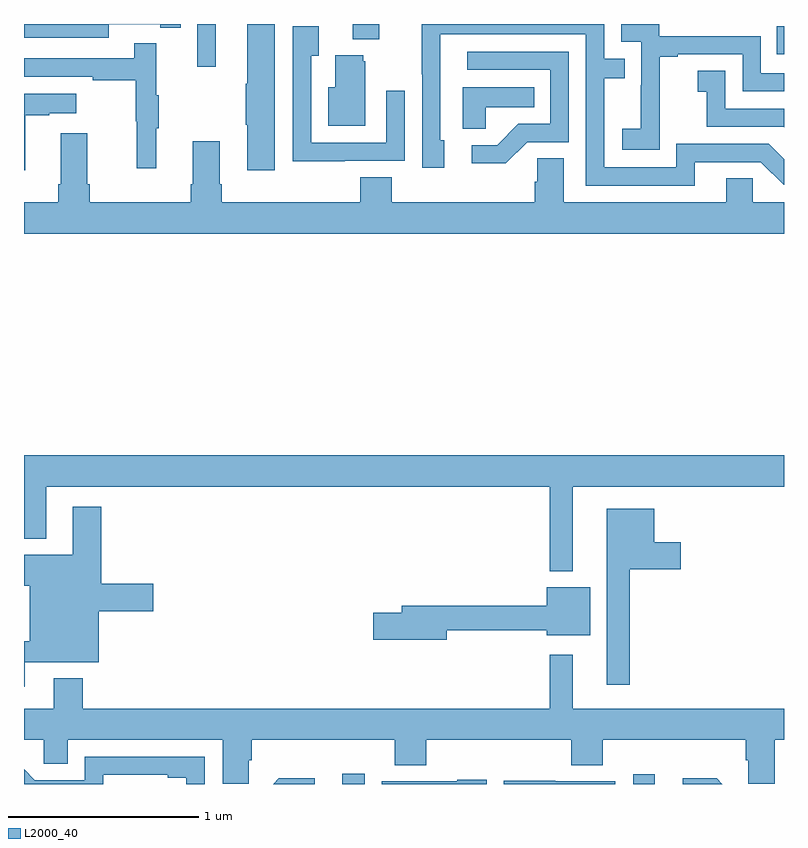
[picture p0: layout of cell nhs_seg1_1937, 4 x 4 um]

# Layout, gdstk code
import gdstk
lib = gdstk.Library(unit=1e-6, precision=1e-09)
def R(c, l, rs):  # rectangles x0, y0, x1, y1
    for r in rs: c.add(gdstk.rectangle(r[:2], r[2:], *l))
def P(c, l, *ps):  # polygons
    for p in ps: c.add(gdstk.Polygon(p, *l))
L2000_40 = (2000, 40)

nhs_seg1_1937 = lib.new_cell('nhs_seg1_1937')
R(nhs_seg1_1937, L2000_40, [(218.675,518.199,218.793,518.254), (220.206,518.199,220.321,518.251), (217.911,521.973,218.008,522.199), (220.963,522.039,221,522.187), (218.729,522.119,218.869,522.199)])
P(nhs_seg1_1937, L2000_40, [(220.531,521.472),(220.878,521.472),(220.998,521.352),(221,521.352),(221,521.488),(220.92,521.568),(220.434,521.568),(220.434,521.445),(220.053,521.445),(220.053,521.914),(220.163,521.914),(220.163,522.015),(220.053,522.015),(220.053,522.199),(219.094,522.199),(219.094,521.935),(219.096,521.935),(219.096,521.442),(219.211,521.442),(219.211,521.586),(219.192,521.586),(219.192,522.144),(219.957,522.144),(219.957,521.349),(220.531,521.349)],
  [(217.446,522.198),(217.718,522.198),(217.718,522.178),(217.826,522.178),(217.826,522.199),(217,522.199),(217,522.126),(217.446,522.126)],
  [(220.347,521.743),(220.346,521.743),(220.346,522.027),(220.441,522.027),(220.441,522.039),(220.782,522.039),(220.782,521.844),(221,521.844),(221,521.94),(220.878,521.94),(220.878,522.135),(220.344,522.135),(220.344,522.199),(220.143,522.199),(220.143,522.105),(220.248,522.105),(220.248,521.876),(220.247,521.876),(220.247,521.647),(220.149,521.647),(220.149,521.537),(220.347,521.537)],
  [(218.32,522.199),(218.174,522.199),(218.174,521.885),(218.167,521.885),(218.167,521.668),(218.174,521.668),(218.174,521.43),(218.32,521.43)],
  [(218.687,521.478),(219.003,521.478),(219.003,521.847),(218.907,521.847),(218.907,521.574),(218.511,521.574),(218.511,522.031),(218.551,522.031),(218.551,522.187),(218.415,522.187),(218.415,521.477),(218.687,521.477)],
  [(217.697,521.651),(217.708,521.651),(217.708,521.825),(217.697,521.825),(217.697,522.097),(217.579,522.097),(217.579,522.018),(217,522.018),(217,521.922),(217.363,521.922),(217.363,521.902),(217.587,521.902),(217.587,521.688),(217.594,521.688),(217.594,521.439),(217.697,521.439)],
  [(219.648,521.577),(219.867,521.577),(219.867,522.054),(219.333,522.054),(219.333,521.958),(219.771,521.958),(219.771,521.673),(219.602,521.673),(219.491,521.562),(219.357,521.562),(219.357,521.465),(219.535,521.465)],
  [(218.797,522.003),(218.786,522.003),(218.786,522.034),(218.639,522.034),(218.639,521.866),(218.6,521.866),(218.6,521.663),(218.797,521.663)],
  [(221,521.754),(220.692,521.754),(220.692,521.953),(220.545,521.953),(220.545,521.843),(220.594,521.843),(220.594,521.658),(220.997,521.658),(221,521.655)],
  [(219.429,521.762),(219.686,521.762),(219.686,521.866),(219.308,521.866),(219.308,521.647),(219.429,521.647)],
  [(217.006,521.719),(217.133,521.719),(217.133,521.729),(217.276,521.729),(217.276,521.833),(217,521.833),(217,521.43),(217.006,521.43)],
  [(221,521.26),(220.836,521.26),(220.836,521.387),(220.697,521.387),(220.697,521.26),(219.841,521.26),(219.841,521.492),(219.702,521.492),(219.702,521.369),(219.689,521.369),(219.689,521.26),(218.936,521.26),(218.936,521.393),(218.771,521.393),(218.771,521.26),(218.042,521.26),(218.042,521.356),(218.029,521.356),(218.029,521.581),(217.889,521.581),(217.889,521.356),(217.877,521.356),(217.877,521.26),(217.346,521.26),(217.346,521.356),(217.333,521.356),(217.333,521.623),(217.193,521.623),(217.193,521.356),(217.181,521.356),(217.181,521.26),(217,521.26),(217,521.096),(221,521.096)],
  [(219.889,519.764),(221,519.764),(221,519.928),(217,519.928),(217,519.491),(217.117,519.491),(217.117,519.764),(219.768,519.764),(219.768,519.32),(219.889,519.32)],
  [(217.003,518.84),(217.393,518.84),(217.393,519.107),(217.681,519.107),(217.681,519.254),(217.406,519.254),(217.406,519.658),(217.256,519.658),(217.256,519.406),(217,519.406),(217,519.242),(217.031,519.242),(217.031,518.95),(217,518.95),(217,518.712),(217.003,518.712)],
  [(220.189,519.329),(220.456,519.329),(220.456,519.471),(220.318,519.471),(220.318,519.649),(220.067,519.649),(220.067,518.721),(220.189,518.721)],
  [(219.226,519.009),(219.752,519.009),(219.752,518.981),(219.979,518.981),(219.979,519.235),(219.752,519.235),(219.752,519.137),(218.987,519.137),(218.987,519.101),(218.838,519.101),(218.838,518.959),(219.226,518.959)],
  [(218.184,518.323),(218.198,518.323),(218.198,518.432),(218.951,518.432),(218.951,518.299),(219.116,518.299),(219.116,518.432),(219.881,518.432),(219.881,518.299),(220.046,518.299),(220.046,518.432),(220.799,518.432),(220.799,518.323),(220.812,518.323),(220.812,518.2),(220.951,518.2),(220.951,518.432),(221,518.432),(221,518.596),(219.889,518.596),(219.889,518.878),(219.768,518.878),(219.768,518.596),(217.31,518.596),(217.31,518.755),(217.157,518.755),(217.157,518.596),(217,518.596),(217,518.432),(217.104,518.432),(217.104,518.305),(217.231,518.305),(217.231,518.432),(218.045,518.432),(218.045,518.2),(218.184,518.2)],
  [(217.416,518.247),(217.757,518.247),(217.757,518.232),(217.853,518.232),(217.853,518.199),(217.95,518.199),(217.95,518.343),(217.32,518.343),(217.32,518.22),(217.056,518.22),(217,518.276),(217,518.199),(217.416,518.199)],
  [(218.53,518.228),(218.342,518.228),(218.313,518.199),(218.53,518.199)],
  [(220.645,518.228),(220.467,518.228),(220.467,518.199),(220.674,518.199)],
  [(219.435,518.221),(219.279,518.221),(219.279,518.214),(218.883,518.214),(218.883,518.199),(219.435,518.199)],
  [(220.113,518.214),(219.797,518.214),(219.797,518.216),(219.525,518.216),(219.525,518.199),(220.113,518.199)])

lib.write_gds('nhs_seg1_1937.gds')
